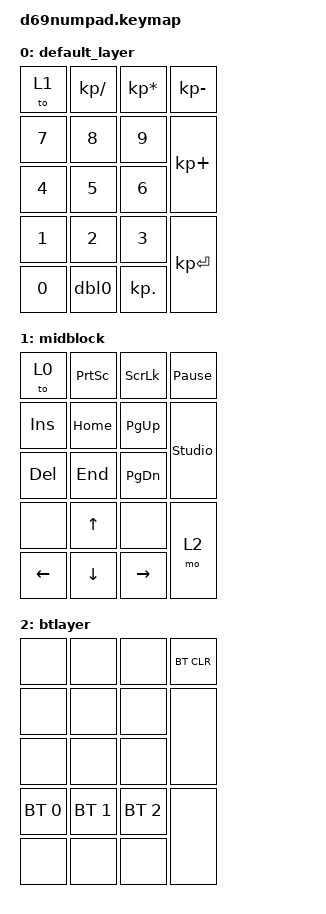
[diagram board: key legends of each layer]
#include <behaviors.dtsi>
#include <dt-bindings/zmk/keys.h>
#include <dt-bindings/zmk/bt.h>

/ {
    macros {
        dbl0: dbl0 {
            compatible = "zmk,behavior-macro";
            #binding-cells = <0>;
            bindings
                = <&macro_tap &kp N0 &kp N0>
                ;
        };
    };
};


/ {
    keymap {
        compatible = "zmk,keymap";

        default_layer { // Layer 0
            // -------------------------------------
            // |  NUMLOCK  |     M     |     K     |
            // |     A     |     B     |     C     |
            // |     D     |     E     |     F     |
			bindings = <
				&to 1		&kp KP_SLASH	&kp KP_ASTERISK	&kp KP_MINUS
				&kp N7		&kp N8		&kp N9
				&kp N4		&kp N5		&kp N6		&kp KP_PLUS
				&kp N1		&kp N2		&kp N3
				&kp N0		&dbl0		&kp KP_DOT	&kp KP_ENTER
				>;
		};
		midblock {
			bindings = <
				&to 0		&kp PSCRN	&kp SLCK	&kp PAUSE_BREAK
				&kp INS		&kp HOME	&kp PG_UP
				&kp DEL		&kp END		&kp PG_DN	&studio_unlock
				&none		&kp UP		&none
				&kp LEFT	&kp DOWN	&kp RIGHT	&mo 2
				>;
		};
		btlayer {
			bindings = <
				&none			&none			&none			&bt BT_CLR
				&none			&none			&none
				&none			&none			&none 			&none
				&bt BT_SEL 0	&bt BT_SEL 1	&bt BT_SEL 2
				&none			&none			&none			&none
				>;
		};
	};
 };
